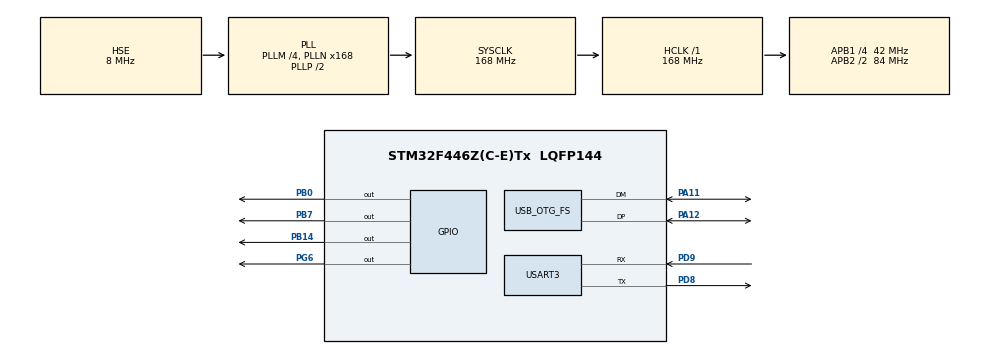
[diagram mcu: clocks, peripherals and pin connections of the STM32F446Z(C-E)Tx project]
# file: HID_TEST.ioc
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Mcu.Family=STM32F4
Mcu.Name=STM32F446Z(C-E)Tx
Mcu.Package=LQFP144
NVIC.OTG_FS_IRQn=true\:0\:0\:false\:false\:true\:false\:true
NVIC.PriorityGroup=NVIC_PRIORITYGROUP_4
PA11.Mode=Host_Only
PA11.Signal=USB_OTG_FS_DM
PA12.Mode=Host_Only
PA12.Signal=USB_OTG_FS_DP
PB0.Signal=GPIO_Output
PB14.Signal=GPIO_Output
PB7.Signal=GPIO_Output
PD8.Mode=Asynchronous
PD8.Signal=USART3_TX
PD9.Mode=Asynchronous
PD9.Signal=USART3_RX
PG6.Signal=GPIO_Output
PH0-OSC_IN.Mode=HSE-External-Clock-Source
PH0-OSC_IN.Signal=RCC_OSC_IN
PH1-OSC_OUT.Mode=HSE-External-Clock-Source
PH1-OSC_OUT.Signal=RCC_OSC_OUT
ProjectManager.HeapSize=0x2000
ProjectManager.StackSize=0x2000
ProjectManager.TargetToolchain=STM32CubeIDE
RCC.AHBFreq_Value=168000000
RCC.APB1CLKDivider=RCC_HCLK_DIV4
RCC.APB1Freq_Value=42000000
RCC.APB1TimFreq_Value=84000000
RCC.APB2CLKDivider=RCC_HCLK_DIV2
RCC.APB2Freq_Value=84000000
RCC.APB2TimFreq_Value=168000000
RCC.CortexFreq_Value=168000000
RCC.HCLKFreq_Value=168000000
RCC.HSE_VALUE=8000000
RCC.PLLM=4
RCC.PLLN=168
RCC.PLLQ=7
RCC.SYSCLKFreq_VALUE=168000000
RCC.SYSCLKSource=RCC_SYSCLKSOURCE_PLLCLK
RCC.USBFreq_Value=48000000
RCC.VCOOutputFreq_Value=336000000
USART3.VirtualMode=VM_ASYNC
USB_HOST.USBH_HandleTypeDef-HID_FS=hUsbHostFS
USB_HOST.VirtualModeFS=Hid
USB_OTG_FS.VirtualMode=Host_Only
USB_OTG_FS.phy_itface=HCD_PHY_EMBEDDED
VP_USB_HOST_VS_USB_HOST_HID_FS.Mode=HID_FS
board=custom

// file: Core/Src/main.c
/* USER CODE BEGIN Header */
/**
  ******************************************************************************
  * @file           : main.c
  * @brief          : Main program body
  ******************************************************************************
  * @attention
  *
  * <h2><center>&copy; Copyright (c) 2020 STMicroelectronics.
  * All rights reserved.</center></h2>
  *
  * This software component is licensed by ST under BSD 3-Clause license,
  * the "License"; You may not use this file except in compliance with the
  * License. You may obtain a copy of the License at:
  *                        opensource.org/licenses/BSD-3-Clause
  *
  ******************************************************************************
  */
/* USER CODE END Header */

#include "main.h"
#include "usb_host.h"

/* USER CODE BEGIN Includes */
#include "usbh_hid.h"
static int32_t uart_length=0;
uint8_t uart_tx_buffer[1000];
extern HID_MOUSE_Info_TypeDef mouse_info;
/* USER CODE END Includes */

UART_HandleTypeDef huart3;

void SystemClock_Config(void);
static void MX_GPIO_Init(void);
static void MX_USART3_UART_Init(void);
void MX_USB_HOST_Process(void);

int main(void)
{

  /* MCU Configuration--------------------------------------------------------*/

  /* Reset of all peripherals, Initializes the Flash interface and the Systick. */
  HAL_Init();

  /* Configure the system clock */
  SystemClock_Config();

  /* Initialize all configured peripherals */
  MX_GPIO_Init();
  MX_USART3_UART_Init();
  MX_USB_HOST_Init();

  /* Infinite loop */
  while (1)
  {
    MX_USB_HOST_Process();
  }
}

void SystemClock_Config(void)
{
  RCC_OscInitTypeDef RCC_OscInitStruct = {0};
  RCC_ClkInitTypeDef RCC_ClkInitStruct = {0};
  RCC_PeriphCLKInitTypeDef PeriphClkInitStruct = {0};

  /** Configure the main internal regulator output voltage
  */
  __HAL_RCC_PWR_CLK_ENABLE();
  __HAL_PWR_VOLTAGESCALING_CONFIG(PWR_REGULATOR_VOLTAGE_SCALE1);
  /** Initializes the CPU, AHB and APB busses clocks
  */
  RCC_OscInitStruct.OscillatorType = RCC_OSCILLATORTYPE_HSE;
  RCC_OscInitStruct.HSEState = RCC_HSE_BYPASS;
  RCC_OscInitStruct.PLL.PLLState = RCC_PLL_ON;
  RCC_OscInitStruct.PLL.PLLSource = RCC_PLLSOURCE_HSE;
  RCC_OscInitStruct.PLL.PLLM = 4;
  RCC_OscInitStruct.PLL.PLLN = 168;
  RCC_OscInitStruct.PLL.PLLP = RCC_PLLP_DIV2;
  RCC_OscInitStruct.PLL.PLLQ = 7;
  RCC_OscInitStruct.PLL.PLLR = 2;
  if (HAL_RCC_OscConfig(&RCC_OscInitStruct) != HAL_OK)
  {
    Error_Handler();
  }
  /** Initializes the CPU, AHB and APB busses clocks
  */
  RCC_ClkInitStruct.ClockType = RCC_CLOCKTYPE_HCLK|RCC_CLOCKTYPE_SYSCLK
                              |RCC_CLOCKTYPE_PCLK1|RCC_CLOCKTYPE_PCLK2;
  RCC_ClkInitStruct.SYSCLKSource = RCC_SYSCLKSOURCE_PLLCLK;
  RCC_ClkInitStruct.AHBCLKDivider = RCC_SYSCLK_DIV1;
  RCC_ClkInitStruct.APB1CLKDivider = RCC_HCLK_DIV4;
  RCC_ClkInitStruct.APB2CLKDivider = RCC_HCLK_DIV2;

  if (HAL_RCC_ClockConfig(&RCC_ClkInitStruct, FLASH_LATENCY_5) != HAL_OK)
  {
    Error_Handler();
  }
  PeriphClkInitStruct.PeriphClockSelection = RCC_PERIPHCLK_CLK48;
  PeriphClkInitStruct.Clk48ClockSelection = RCC_CLK48CLKSOURCE_PLLQ;
  if (HAL_RCCEx_PeriphCLKConfig(&PeriphClkInitStruct) != HAL_OK)
  {
    Error_Handler();
  }
}

static void MX_USART3_UART_Init(void)
{

  huart3.Instance = USART3;
  huart3.Init.BaudRate = 115200;
  huart3.Init.WordLength = UART_WORDLENGTH_8B;
  huart3.Init.StopBits = UART_STOPBITS_1;
  huart3.Init.Parity = UART_PARITY_NONE;
  huart3.Init.Mode = UART_MODE_TX_RX;
  huart3.Init.HwFlowCtl = UART_HWCONTROL_NONE;
  huart3.Init.OverSampling = UART_OVERSAMPLING_16;
  if (HAL_UART_Init(&huart3) != HAL_OK)
  {
    Error_Handler();
  }

}

static void MX_GPIO_Init(void)
{
  GPIO_InitTypeDef GPIO_InitStruct = {0};

  /* GPIO Ports Clock Enable */
  __HAL_RCC_GPIOH_CLK_ENABLE();
  __HAL_RCC_GPIOB_CLK_ENABLE();
  __HAL_RCC_GPIOD_CLK_ENABLE();
  __HAL_RCC_GPIOG_CLK_ENABLE();
  __HAL_RCC_GPIOA_CLK_ENABLE();

  /*Configure GPIO pin Output Level */
  HAL_GPIO_WritePin(GPIOB, GPIO_PIN_0|GPIO_PIN_14|GPIO_PIN_7, GPIO_PIN_RESET);

  /*Configure GPIO pin Output Level */
  HAL_GPIO_WritePin(GPIOG, GPIO_PIN_6, GPIO_PIN_RESET);

  /*Configure GPIO pins : PB0 PB14 PB7 */
  GPIO_InitStruct.Pin = GPIO_PIN_0|GPIO_PIN_14|GPIO_PIN_7;
  GPIO_InitStruct.Mode = GPIO_MODE_OUTPUT_PP;
  GPIO_InitStruct.Pull = GPIO_NOPULL;
  GPIO_InitStruct.Speed = GPIO_SPEED_FREQ_LOW;
  HAL_GPIO_Init(GPIOB, &GPIO_InitStruct);

  /*Configure GPIO pin : PG6 */
  GPIO_InitStruct.Pin = GPIO_PIN_6;
  GPIO_InitStruct.Mode = GPIO_MODE_OUTPUT_PP;
  GPIO_InitStruct.Pull = GPIO_NOPULL;
  GPIO_InitStruct.Speed = GPIO_SPEED_FREQ_LOW;
  HAL_GPIO_Init(GPIOG, &GPIO_InitStruct);

}

/* USER CODE BEGIN 4 */
void USBH_CONNECTION_Callback(USBH_HandleTypeDef *phost){
	  HID_HandleTypeDef *HID_Handle = (HID_HandleTypeDef *) phost->pActiveClass->pData;
	  USBH_StatusTypeDef classReqStatus = USBH_BUSY;
	  uint8_t buffer[100] = {0,};

	  do{
		  classReqStatus = USBH_HID_GetHIDReportDescriptor(phost, HID_Handle->HID_Desc.wItemLength);
	  }while(classReqStatus != USBH_OK);

	  memcpy(buffer, phost->device.Data, HID_Handle->HID_Desc.wItemLength);

	  sprintf(uart_tx_buffer, "\nDescriptor : ");
	  for(int i = 0; i < HID_Handle->HID_Desc.wItemLength; i++){
		  if(i % 16 == 0){
				sprintf(uart_tx_buffer + strlen(uart_tx_buffer), "\n");
			}

			sprintf(uart_tx_buffer + strlen(uart_tx_buffer), "0x%02x ", buffer[i]);
	  }
	  uart_length = strlen(uart_tx_buffer) +1;
	  HAL_UART_Transmit(&huart3, uart_tx_buffer, (uint16_t)uart_length, 1000);
	  uart_length = 0;
}

void USBH_HID_EventCallback(USBH_HandleTypeDef *phost)
{
	HID_HandleTypeDef *HID_Handle = (HID_HandleTypeDef *) phost->pActiveClass->pData;
	uint8_t buffer[100] = {0,};

	if (USBH_HID_FifoRead(&HID_Handle->fifo, buffer, HID_Handle->length) ==  HID_Handle->length){
		sprintf(uart_tx_buffer, "\nReport : ");
		for(int i = 0; i < HID_Handle->length; i++){
			if(i % 16 == 0){
				sprintf(uart_tx_buffer + strlen(uart_tx_buffer), "\n");
			}

			sprintf(uart_tx_buffer + strlen(uart_tx_buffer), "0x%02x ", buffer[i]);
		}
		uart_length = strlen(uart_tx_buffer) +1;
		HAL_UART_Transmit(&huart3, uart_tx_buffer, (uint16_t)uart_length, 1000);
		uart_length = 0;
	}
}
/* USER CODE END 4 */

void Error_Handler(void)
{
}

/************************ (C) COPYRIGHT STMicroelectronics *****END OF FILE****/
